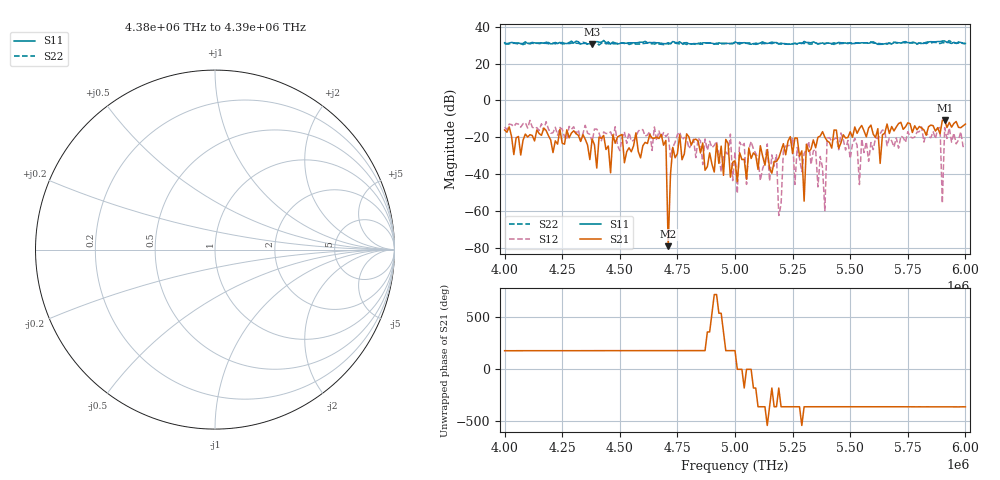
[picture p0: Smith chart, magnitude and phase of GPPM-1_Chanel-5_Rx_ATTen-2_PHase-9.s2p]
#6026003!Agilent Technologies,E5071B,MY42404614,A.06.51
!Date: Thu Jul 31 15:18:06 2014
!Data & Calibration Information:
!Freq	S11:SOLT2(ON)	S21:SOLT2(ON)	S12:SOLT2(ON)	S22:SOLT2(ON)
! # Hz S dB R 50
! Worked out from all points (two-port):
!   201 points, 4e+06 THz to 6e+06 THz, reference 50 ohm
!   highest |S21| = -10.65 dB at 5.91e+06 THz (marker M1); lowest = -78.8 dB at 4.71e+06 THz (marker M2)
!   |S21| within 3 dB of the highest: 5703760 THz to 5724825 THz (2.106e+04 THz wide, 0.369 % of centre); 5742839 THz to 5762332 THz (1.949e+04 THz wide, 0.339 % of centre) (the widest 2 of 10)
!   lowest |S11| = 30.4 dB at 4.38e+06 THz (marker M3)
!   |S11| at or under -10 dB: nowhere
!   |S22| runs from 30.0 to 32.4 dB; largest |S21 - S12| = 0.29
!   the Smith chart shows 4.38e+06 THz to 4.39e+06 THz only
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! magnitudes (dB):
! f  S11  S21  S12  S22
! 4e+06 THz  31.2  -15.9  -14.4  30.7
! 4.34e+06 THz  30.9  -18.5  -17.9  31.5
! 4.38e+06 THz  30.4  -20.8  -22.4  31.3
! 4.67e+06 THz  31.2  -20.6  -16.5  30.5
! 4.7e+06 THz  30.7  -21.6  -19.5  30.8
! 4.71e+06 THz  31.2  -78.8  -18.0  30.6
! 4.73e+06 THz  31.9  -25.3  -25.3  31.2
! 4.76e+06 THz  31.8  -18.5  -17.0  30.7
! 5e+06 THz  31.6  -32.7  -27.8  31.0
! 5.18e+06 THz  31.3  -33.0  -29.4  31.0
! 5.19e+06 THz  30.6  -31.0  -62.2  30.7
! 5.22e+06 THz  30.7  -29.4  -24.6  30.5
! 5.3e+06 THz  31.9  -54.4  -28.8  30.8
! 5.34e+06 THz  31.7  -21.3  -27.3  30.9
! 5.39e+06 THz  30.8  -19.9  -59.8  30.6
! 5.4e+06 THz  31.0  -21.9  -20.4  31.1
! 5.54e+06 THz  31.0  -15.2  -45.5  31.1
! 5.67e+06 THz  30.9  -17.8  -20.3  31.1
! 5.89e+06 THz  31.9  -18.0  -14.6  30.8
! 5.9e+06 THz  32.1  -10.7  -55.5  31.3
! 5.91e+06 THz  32.2  -10.6  -14.7  31.2
! 6e+06 THz  30.9  -12.8  -23.6  30.8
